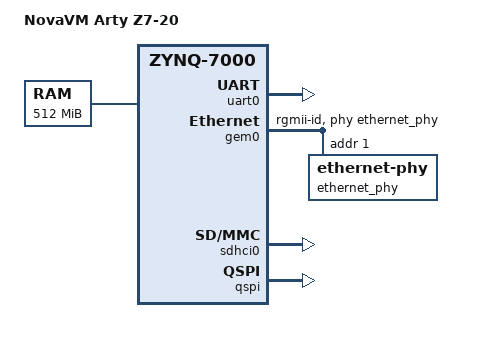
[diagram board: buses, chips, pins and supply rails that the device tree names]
/dts-v1/;
#include "xilinx/zynq-7000.dtsi"
#include <dt-bindings/gpio/gpio.h>

/ {
	model = "NovaVM Arty Z7-20";
	compatible = "novavm,arty-z7", "digilent,zynq-zybo-z7", "xlnx,zynq-7000";

	aliases {
		ethernet0 = &gem0;
		serial0 = &uart0;	/* Arty USB-UART is UART0 (Zybo uses UART1) */
		spi0 = &qspi;
		mmc0 = &sdhci0;
	};

	memory@0 {
		device_type = "memory";
		reg = <0x0 0x20000000>;	/* Arty Z7-20 = 512 MB (Zybo = 1 GB) */
	};

	chosen {
		bootargs = "";
		stdout-path = "serial0:115200n8";
	};

	/* PS<->PL shared XRAM in PS DDR (XRAM_DDR_BASE=0x10000000), reached by the
	 * PL via S_AXI_HP0. Carve it out so Linux never allocates it; novavm maps
	 * it coherently. From build/arty_z7_full.xsa. */
	reserved-memory {
		#address-cells = <1>;
		#size-cells = <1>;
		ranges;

		novavm_xram: novavm-xram@10000000 {
			reg = <0x10000000 0x01000000>;	/* 16 MB @ 0x10000000 */
			no-map;
		};
	};

	/* fio_bridge register block (M_AXI_GP0, 0x40000000..0x4000FFFF, 64 KB).
	 * Exposed to the userspace novavm host via UIO (cmdline
	 * uio_pdrv_genirq.of_id=generic-uio). fio_event IRQ wired later. */
	fio_bridge: fio-bridge@40000000 {
		compatible = "generic-uio", "ui_pdrv";
		reg = <0x40000000 0x00010000>;
		memory-region = <&novavm_xram>;
	};
};

&clkc {
	ps-clk-frequency = <50000000>;	/* Arty 50 MHz crystal (Zybo = 33.33 MHz) */
};

&uart0 {
	status = "okay";
};

&gem0 {
	status = "okay";
	phy-mode = "rgmii-id";
	phy-handle = <&ethernet_phy>;

	ethernet_phy: ethernet-phy@0 {
		reg = <1>;	/* RTL8211F at addr 1 (per net.c) */
	};
};

&sdhci0 {
	status = "okay";
};

&qspi {
	status = "okay";
};
